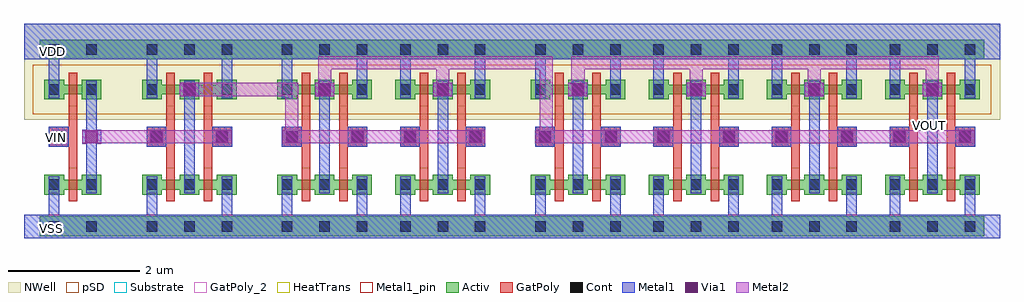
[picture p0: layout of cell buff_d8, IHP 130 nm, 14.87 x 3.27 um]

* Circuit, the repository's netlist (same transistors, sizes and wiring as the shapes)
* Extracted by KLayout with SG13G2 LVS runset on : 28/02/2026 21:23

.SUBCKT buff_d8 VSS VDD VIN VOUT
X$1 \$1 VSS VDD \$2 inv_d2
X$3 \$3 VSS \$2 VDD inv_d4
X$4 VOUT VSS VDD \$3 inv_d8
M$1 VSS VIN \$1 VSS sg13_lv_nmos L=0.13u W=0.15u AS=0.1005p AD=0.1005p PS=1.34u
+ PD=1.34u
M$2 VDD VIN \$1 VDD sg13_lv_pmos L=0.13u W=0.15u AS=0.1005p AD=0.1005p PS=1.34u
+ PD=1.34u
.ENDS buff_d8

.SUBCKT inv_d8 VOUT VSS VDD VIN
X$1 VOUT VSS VIN VDD inv_d4
X$2 VOUT VSS VIN VDD inv_d4
.ENDS inv_d8

.SUBCKT inv_d4 VOUT VSS VIN VDD
X$1 VIN VSS VDD VOUT inv_d2
X$2 VIN VSS VDD VOUT inv_d2
.ENDS inv_d4

.SUBCKT inv_d2 VIN VSS VDD VOUT
M$1 VSS VIN VOUT VSS sg13_lv_nmos L=0.13u W=0.3u AS=0.156p AD=0.156p PS=2.08u
+ PD=2.08u
M$3 VDD VIN VOUT VDD sg13_lv_pmos L=0.13u W=0.3u AS=0.156p AD=0.156p PS=2.08u
+ PD=2.08u
.ENDS inv_d2

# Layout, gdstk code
from math import pi, radians
import gdstk
lib = gdstk.Library(unit=1e-6, precision=5e-09)
def R(c, l, rs):  # rectangles x0, y0, x1, y1
    for r in rs: c.add(gdstk.rectangle(r[:2], r[2:], *l))
Activ = (1, 0)
GatPoly = (5, 0)
GatPoly_2 = (5, 2)
Cont = (6, 0)
Metal1 = (8, 0)
Metal1_pin = (8, 2)
Metal2 = (10, 0)
pSD = (14, 0)
Via1 = (19, 0)
NWell = (31, 0)
Substrate = (40, 0)
HeatTrans = (51, 0)

pmos_1 = lib.new_cell('pmos$1')
R(pmos_1, Activ, [(0,0,0.3,0.3), (0.57,0,0.87,0.3), (0,0.075,0.87,0.225)])
R(pmos_1, GatPoly, [(0.37,-0.105,0.5,0.405), (0.37,-0.105,0.5,0.405)])
R(pmos_1, Cont, [(0.07,0.07,0.23,0.23), (0.64,0.07,0.8,0.23)])
R(pmos_1, Metal1, [(0.07,0.02,0.23,0.28), (0.07,0.02,0.23,0.28), (0.64,0.02,0.8,0.28), (0.64,0.02,0.8,0.28)])
R(pmos_1, pSD, [(-0.18,-0.225,1.05,0.525)])
R(pmos_1, NWell, [(-0.31,-0.31,1.18,0.61)])
R(pmos_1, Substrate, [(0.57,0,0.87,0.3)])
R(pmos_1, HeatTrans, [(0.37,-0.105,0.5,0.405)])
pmos_1.add(gdstk.Label('pmos', (0.435,0.15), layer=63, texttype=0))
pmos_1.add(gdstk.Label('pmos', (0.435,0.15), layer=51, texttype=0))

nmos_1 = lib.new_cell('nmos$1')
R(nmos_1, Activ, [(0,0,0.3,0.3), (0.57,0,0.87,0.3), (0,0.075,0.87,0.225)])
R(nmos_1, GatPoly, [(0.37,-0.105,0.5,0.405)])
R(nmos_1, GatPoly_2, [(0.37,-0.105,0.5,0.405)])
R(nmos_1, Cont, [(0.07,0.07,0.23,0.23), (0.64,0.07,0.8,0.23)])
R(nmos_1, Metal1, [(0.07,0.02,0.23,0.28), (0.64,0.02,0.8,0.28)])
R(nmos_1, Metal1_pin, [(0.07,0.02,0.23,0.28), (0.64,0.02,0.8,0.28)])
R(nmos_1, HeatTrans, [(0.37,-0.105,0.5,0.405)])
nmos_1.add(gdstk.Label('nmos', (0.435,0.15), layer=63, texttype=0))
nmos_1.add(gdstk.Label('nmos', (0.435,0.15), layer=51, texttype=0))

pmos_1_4 = lib.new_cell('pmos$1$4')
R(pmos_1_4, Activ, [(0,0,0.3,0.3), (0.57,0,0.87,0.3), (0,0.075,0.87,0.225)])
R(pmos_1_4, GatPoly, [(0.37,-0.105,0.5,0.405), (0.37,-0.105,0.5,0.405)])
R(pmos_1_4, Cont, [(0.07,0.07,0.23,0.23), (0.64,0.07,0.8,0.23)])
R(pmos_1_4, Metal1, [(0.07,0.02,0.23,0.28), (0.07,0.02,0.23,0.28), (0.64,0.02,0.8,0.28), (0.64,0.02,0.8,0.28)])
R(pmos_1_4, pSD, [(-0.18,-0.225,1.05,0.525)])
R(pmos_1_4, NWell, [(-0.31,-0.31,1.18,0.61)])
R(pmos_1_4, Substrate, [(0.57,0,0.87,0.3)])
R(pmos_1_4, HeatTrans, [(0.37,-0.105,0.5,0.405)])
pmos_1_4.add(gdstk.Label('pmos', (0.435,0.15), layer=63, texttype=0))
pmos_1_4.add(gdstk.Label('pmos', (0.435,0.15), layer=51, texttype=0))

nmos_1_4 = lib.new_cell('nmos$1$4')
R(nmos_1_4, Activ, [(0,0,0.3,0.3), (0.57,0,0.87,0.3), (0,0.075,0.87,0.225)])
R(nmos_1_4, GatPoly, [(0.37,-0.105,0.5,0.405)])
R(nmos_1_4, GatPoly_2, [(0.37,-0.105,0.5,0.405)])
R(nmos_1_4, Cont, [(0.07,0.07,0.23,0.23), (0.64,0.07,0.8,0.23)])
R(nmos_1_4, Metal1, [(0.07,0.02,0.23,0.28), (0.64,0.02,0.8,0.28)])
R(nmos_1_4, Metal1_pin, [(0.07,0.02,0.23,0.28), (0.64,0.02,0.8,0.28)])
R(nmos_1_4, HeatTrans, [(0.37,-0.105,0.5,0.405)])
nmos_1_4.add(gdstk.Label('nmos', (0.435,0.15), layer=63, texttype=0))
nmos_1_4.add(gdstk.Label('nmos', (0.435,0.15), layer=51, texttype=0))

pmos_1_1 = lib.new_cell('pmos$1$1')
R(pmos_1_1, Activ, [(0,0,0.3,0.3), (0.57,0,0.87,0.3), (0,0.075,0.87,0.225)])
R(pmos_1_1, GatPoly, [(0.37,-0.105,0.5,0.405), (0.37,-0.105,0.5,0.405)])
R(pmos_1_1, Cont, [(0.07,0.07,0.23,0.23), (0.64,0.07,0.8,0.23)])
R(pmos_1_1, Metal1, [(0.07,0.02,0.23,0.28), (0.07,0.02,0.23,0.28), (0.64,0.02,0.8,0.28), (0.64,0.02,0.8,0.28)])
R(pmos_1_1, pSD, [(-0.18,-0.225,1.05,0.525)])
R(pmos_1_1, NWell, [(-0.31,-0.31,1.18,0.61)])
R(pmos_1_1, Substrate, [(0.57,0,0.87,0.3)])
R(pmos_1_1, HeatTrans, [(0.37,-0.105,0.5,0.405)])
pmos_1_1.add(gdstk.Label('pmos', (0.435,0.15), layer=63, texttype=0))
pmos_1_1.add(gdstk.Label('pmos', (0.435,0.15), layer=51, texttype=0))

nmos_1_1 = lib.new_cell('nmos$1$1')
R(nmos_1_1, Activ, [(0,0,0.3,0.3), (0.57,0,0.87,0.3), (0,0.075,0.87,0.225)])
R(nmos_1_1, GatPoly, [(0.37,-0.105,0.5,0.405)])
R(nmos_1_1, GatPoly_2, [(0.37,-0.105,0.5,0.405)])
R(nmos_1_1, Cont, [(0.07,0.07,0.23,0.23), (0.64,0.07,0.8,0.23)])
R(nmos_1_1, Metal1, [(0.07,0.02,0.23,0.28), (0.64,0.02,0.8,0.28)])
R(nmos_1_1, Metal1_pin, [(0.07,0.02,0.23,0.28), (0.64,0.02,0.8,0.28)])
R(nmos_1_1, HeatTrans, [(0.37,-0.105,0.5,0.405)])
nmos_1_1.add(gdstk.Label('nmos', (0.435,0.15), layer=63, texttype=0))
nmos_1_1.add(gdstk.Label('nmos', (0.435,0.15), layer=51, texttype=0))

pmos_1_2 = lib.new_cell('pmos$1$2')
R(pmos_1_2, Activ, [(0,0,0.3,0.3), (0.57,0,0.87,0.3), (0,0.075,0.87,0.225)])
R(pmos_1_2, GatPoly, [(0.37,-0.105,0.5,0.405), (0.37,-0.105,0.5,0.405)])
R(pmos_1_2, Cont, [(0.07,0.07,0.23,0.23), (0.64,0.07,0.8,0.23)])
R(pmos_1_2, Metal1, [(0.07,0.02,0.23,0.28), (0.07,0.02,0.23,0.28), (0.64,0.02,0.8,0.28), (0.64,0.02,0.8,0.28)])
R(pmos_1_2, pSD, [(-0.18,-0.225,1.05,0.525)])
R(pmos_1_2, NWell, [(-0.31,-0.31,1.18,0.61)])
R(pmos_1_2, Substrate, [(0.57,0,0.87,0.3)])
R(pmos_1_2, HeatTrans, [(0.37,-0.105,0.5,0.405)])
pmos_1_2.add(gdstk.Label('pmos', (0.435,0.15), layer=63, texttype=0))
pmos_1_2.add(gdstk.Label('pmos', (0.435,0.15), layer=51, texttype=0))

nmos_1_2 = lib.new_cell('nmos$1$2')
R(nmos_1_2, Activ, [(0,0,0.3,0.3), (0.57,0,0.87,0.3), (0,0.075,0.87,0.225)])
R(nmos_1_2, GatPoly, [(0.37,-0.105,0.5,0.405)])
R(nmos_1_2, GatPoly_2, [(0.37,-0.105,0.5,0.405)])
R(nmos_1_2, Cont, [(0.07,0.07,0.23,0.23), (0.64,0.07,0.8,0.23)])
R(nmos_1_2, Metal1, [(0.07,0.02,0.23,0.28), (0.64,0.02,0.8,0.28)])
R(nmos_1_2, Metal1_pin, [(0.07,0.02,0.23,0.28), (0.64,0.02,0.8,0.28)])
R(nmos_1_2, HeatTrans, [(0.37,-0.105,0.5,0.405)])
nmos_1_2.add(gdstk.Label('nmos', (0.435,0.15), layer=63, texttype=0))
nmos_1_2.add(gdstk.Label('nmos', (0.435,0.15), layer=51, texttype=0))

pmos_1_3 = lib.new_cell('pmos$1$3')
R(pmos_1_3, Activ, [(0,0,0.3,0.3), (0.57,0,0.87,0.3), (0,0.075,0.87,0.225)])
R(pmos_1_3, GatPoly, [(0.37,-0.105,0.5,0.405), (0.37,-0.105,0.5,0.405)])
R(pmos_1_3, Cont, [(0.07,0.07,0.23,0.23), (0.64,0.07,0.8,0.23)])
R(pmos_1_3, Metal1, [(0.07,0.02,0.23,0.28), (0.07,0.02,0.23,0.28), (0.64,0.02,0.8,0.28), (0.64,0.02,0.8,0.28)])
R(pmos_1_3, pSD, [(-0.18,-0.225,1.05,0.525)])
R(pmos_1_3, NWell, [(-0.31,-0.31,1.18,0.61)])
R(pmos_1_3, Substrate, [(0.57,0,0.87,0.3)])
R(pmos_1_3, HeatTrans, [(0.37,-0.105,0.5,0.405)])
pmos_1_3.add(gdstk.Label('pmos', (0.435,0.15), layer=63, texttype=0))
pmos_1_3.add(gdstk.Label('pmos', (0.435,0.15), layer=51, texttype=0))

nmos_1_3 = lib.new_cell('nmos$1$3')
R(nmos_1_3, Activ, [(0,0,0.3,0.3), (0.57,0,0.87,0.3), (0,0.075,0.87,0.225)])
R(nmos_1_3, GatPoly, [(0.37,-0.105,0.5,0.405)])
R(nmos_1_3, GatPoly_2, [(0.37,-0.105,0.5,0.405)])
R(nmos_1_3, Cont, [(0.07,0.07,0.23,0.23), (0.64,0.07,0.8,0.23)])
R(nmos_1_3, Metal1, [(0.07,0.02,0.23,0.28), (0.64,0.02,0.8,0.28)])
R(nmos_1_3, Metal1_pin, [(0.07,0.02,0.23,0.28), (0.64,0.02,0.8,0.28)])
R(nmos_1_3, HeatTrans, [(0.37,-0.105,0.5,0.405)])
nmos_1_3.add(gdstk.Label('nmos', (0.435,0.15), layer=63, texttype=0))
nmos_1_3.add(gdstk.Label('nmos', (0.435,0.15), layer=51, texttype=0))

pmos_1_5 = lib.new_cell('pmos$1$5')
R(pmos_1_5, Activ, [(0,0,0.3,0.3), (0.57,0,0.87,0.3), (0,0.075,0.87,0.225)])
R(pmos_1_5, GatPoly, [(0.37,-0.105,0.5,0.405), (0.37,-0.105,0.5,0.405)])
R(pmos_1_5, Cont, [(0.07,0.07,0.23,0.23), (0.64,0.07,0.8,0.23)])
R(pmos_1_5, Metal1, [(0.07,0.02,0.23,0.28), (0.07,0.02,0.23,0.28), (0.64,0.02,0.8,0.28), (0.64,0.02,0.8,0.28)])
R(pmos_1_5, pSD, [(-0.18,-0.225,1.05,0.525)])
R(pmos_1_5, NWell, [(-0.31,-0.31,1.18,0.61)])
R(pmos_1_5, Substrate, [(0.57,0,0.87,0.3)])
R(pmos_1_5, HeatTrans, [(0.37,-0.105,0.5,0.405)])
pmos_1_5.add(gdstk.Label('pmos', (0.435,0.15), layer=63, texttype=0))
pmos_1_5.add(gdstk.Label('pmos', (0.435,0.15), layer=51, texttype=0))

nmos_1_5 = lib.new_cell('nmos$1$5')
R(nmos_1_5, Activ, [(0,0,0.3,0.3), (0.57,0,0.87,0.3), (0,0.075,0.87,0.225)])
R(nmos_1_5, GatPoly, [(0.37,-0.105,0.5,0.405)])
R(nmos_1_5, GatPoly_2, [(0.37,-0.105,0.5,0.405)])
R(nmos_1_5, Cont, [(0.07,0.07,0.23,0.23), (0.64,0.07,0.8,0.23)])
R(nmos_1_5, Metal1, [(0.07,0.02,0.23,0.28), (0.64,0.02,0.8,0.28)])
R(nmos_1_5, Metal1_pin, [(0.07,0.02,0.23,0.28), (0.64,0.02,0.8,0.28)])
R(nmos_1_5, HeatTrans, [(0.37,-0.105,0.5,0.405)])
nmos_1_5.add(gdstk.Label('nmos', (0.435,0.15), layer=63, texttype=0))
nmos_1_5.add(gdstk.Label('nmos', (0.435,0.15), layer=51, texttype=0))

pmos_1_1_1 = lib.new_cell('pmos$1$1$1')
R(pmos_1_1_1, Activ, [(0,0,0.3,0.3), (0.57,0,0.87,0.3), (0,0.075,0.87,0.225)])
R(pmos_1_1_1, GatPoly, [(0.37,-0.105,0.5,0.405), (0.37,-0.105,0.5,0.405)])
R(pmos_1_1_1, Cont, [(0.07,0.07,0.23,0.23), (0.64,0.07,0.8,0.23)])
R(pmos_1_1_1, Metal1, [(0.07,0.02,0.23,0.28), (0.07,0.02,0.23,0.28), (0.64,0.02,0.8,0.28), (0.64,0.02,0.8,0.28)])
R(pmos_1_1_1, pSD, [(-0.18,-0.225,1.05,0.525)])
R(pmos_1_1_1, NWell, [(-0.31,-0.31,1.18,0.61)])
R(pmos_1_1_1, Substrate, [(0.57,0,0.87,0.3)])
R(pmos_1_1_1, HeatTrans, [(0.37,-0.105,0.5,0.405)])
pmos_1_1_1.add(gdstk.Label('pmos', (0.435,0.15), layer=63, texttype=0))
pmos_1_1_1.add(gdstk.Label('pmos', (0.435,0.15), layer=51, texttype=0))

nmos_1_1_1 = lib.new_cell('nmos$1$1$1')
R(nmos_1_1_1, Activ, [(0,0,0.3,0.3), (0.57,0,0.87,0.3), (0,0.075,0.87,0.225)])
R(nmos_1_1_1, GatPoly, [(0.37,-0.105,0.5,0.405)])
R(nmos_1_1_1, GatPoly_2, [(0.37,-0.105,0.5,0.405)])
R(nmos_1_1_1, Cont, [(0.07,0.07,0.23,0.23), (0.64,0.07,0.8,0.23)])
R(nmos_1_1_1, Metal1, [(0.07,0.02,0.23,0.28), (0.64,0.02,0.8,0.28)])
R(nmos_1_1_1, Metal1_pin, [(0.07,0.02,0.23,0.28), (0.64,0.02,0.8,0.28)])
R(nmos_1_1_1, HeatTrans, [(0.37,-0.105,0.5,0.405)])
nmos_1_1_1.add(gdstk.Label('nmos', (0.435,0.15), layer=63, texttype=0))
nmos_1_1_1.add(gdstk.Label('nmos', (0.435,0.15), layer=51, texttype=0))

pmos_1_2_1 = lib.new_cell('pmos$1$2$1')
R(pmos_1_2_1, Activ, [(0,0,0.3,0.3), (0.57,0,0.87,0.3), (0,0.075,0.87,0.225)])
R(pmos_1_2_1, GatPoly, [(0.37,-0.105,0.5,0.405), (0.37,-0.105,0.5,0.405)])
R(pmos_1_2_1, Cont, [(0.07,0.07,0.23,0.23), (0.64,0.07,0.8,0.23)])
R(pmos_1_2_1, Metal1, [(0.07,0.02,0.23,0.28), (0.07,0.02,0.23,0.28), (0.64,0.02,0.8,0.28), (0.64,0.02,0.8,0.28)])
R(pmos_1_2_1, pSD, [(-0.18,-0.225,1.05,0.525)])
R(pmos_1_2_1, NWell, [(-0.31,-0.31,1.18,0.61)])
R(pmos_1_2_1, Substrate, [(0.57,0,0.87,0.3)])
R(pmos_1_2_1, HeatTrans, [(0.37,-0.105,0.5,0.405)])
pmos_1_2_1.add(gdstk.Label('pmos', (0.435,0.15), layer=63, texttype=0))
pmos_1_2_1.add(gdstk.Label('pmos', (0.435,0.15), layer=51, texttype=0))

nmos_1_2_1 = lib.new_cell('nmos$1$2$1')
R(nmos_1_2_1, Activ, [(0,0,0.3,0.3), (0.57,0,0.87,0.3), (0,0.075,0.87,0.225)])
R(nmos_1_2_1, GatPoly, [(0.37,-0.105,0.5,0.405)])
R(nmos_1_2_1, GatPoly_2, [(0.37,-0.105,0.5,0.405)])
R(nmos_1_2_1, Cont, [(0.07,0.07,0.23,0.23), (0.64,0.07,0.8,0.23)])
R(nmos_1_2_1, Metal1, [(0.07,0.02,0.23,0.28), (0.64,0.02,0.8,0.28)])
R(nmos_1_2_1, Metal1_pin, [(0.07,0.02,0.23,0.28), (0.64,0.02,0.8,0.28)])
R(nmos_1_2_1, HeatTrans, [(0.37,-0.105,0.5,0.405)])
nmos_1_2_1.add(gdstk.Label('nmos', (0.435,0.15), layer=63, texttype=0))
nmos_1_2_1.add(gdstk.Label('nmos', (0.435,0.15), layer=51, texttype=0))

pmos_1_3_1 = lib.new_cell('pmos$1$3$1')
R(pmos_1_3_1, Activ, [(0,0,0.3,0.3), (0.57,0,0.87,0.3), (0,0.075,0.87,0.225)])
R(pmos_1_3_1, GatPoly, [(0.37,-0.105,0.5,0.405), (0.37,-0.105,0.5,0.405)])
R(pmos_1_3_1, Cont, [(0.07,0.07,0.23,0.23), (0.64,0.07,0.8,0.23)])
R(pmos_1_3_1, Metal1, [(0.07,0.02,0.23,0.28), (0.07,0.02,0.23,0.28), (0.64,0.02,0.8,0.28), (0.64,0.02,0.8,0.28)])
R(pmos_1_3_1, pSD, [(-0.18,-0.225,1.05,0.525)])
R(pmos_1_3_1, NWell, [(-0.31,-0.31,1.18,0.61)])
R(pmos_1_3_1, Substrate, [(0.57,0,0.87,0.3)])
R(pmos_1_3_1, HeatTrans, [(0.37,-0.105,0.5,0.405)])
pmos_1_3_1.add(gdstk.Label('pmos', (0.435,0.15), layer=63, texttype=0))
pmos_1_3_1.add(gdstk.Label('pmos', (0.435,0.15), layer=51, texttype=0))

nmos_1_3_1 = lib.new_cell('nmos$1$3$1')
R(nmos_1_3_1, Activ, [(0,0,0.3,0.3), (0.57,0,0.87,0.3), (0,0.075,0.87,0.225)])
R(nmos_1_3_1, GatPoly, [(0.37,-0.105,0.5,0.405)])
R(nmos_1_3_1, GatPoly_2, [(0.37,-0.105,0.5,0.405)])
R(nmos_1_3_1, Cont, [(0.07,0.07,0.23,0.23), (0.64,0.07,0.8,0.23)])
R(nmos_1_3_1, Metal1, [(0.07,0.02,0.23,0.28), (0.64,0.02,0.8,0.28)])
R(nmos_1_3_1, Metal1_pin, [(0.07,0.02,0.23,0.28), (0.64,0.02,0.8,0.28)])
R(nmos_1_3_1, HeatTrans, [(0.37,-0.105,0.5,0.405)])
nmos_1_3_1.add(gdstk.Label('nmos', (0.435,0.15), layer=63, texttype=0))
nmos_1_3_1.add(gdstk.Label('nmos', (0.435,0.15), layer=51, texttype=0))

pmos_1_6 = lib.new_cell('pmos$1$6')
R(pmos_1_6, Activ, [(0,0,0.3,0.3), (0.57,0,0.87,0.3), (0,0.075,0.87,0.225)])
R(pmos_1_6, GatPoly, [(0.37,-0.105,0.5,0.405), (0.37,-0.105,0.5,0.405)])
R(pmos_1_6, Cont, [(0.07,0.07,0.23,0.23), (0.64,0.07,0.8,0.23)])
R(pmos_1_6, Metal1, [(0.07,0.02,0.23,0.28), (0.07,0.02,0.23,0.28), (0.64,0.02,0.8,0.28), (0.64,0.02,0.8,0.28)])
R(pmos_1_6, pSD, [(-0.18,-0.225,1.05,0.525)])
R(pmos_1_6, NWell, [(-0.31,-0.31,1.18,0.61)])
R(pmos_1_6, Substrate, [(0.57,0,0.87,0.3)])
R(pmos_1_6, HeatTrans, [(0.37,-0.105,0.5,0.405)])
pmos_1_6.add(gdstk.Label('pmos', (0.435,0.15), layer=63, texttype=0))
pmos_1_6.add(gdstk.Label('pmos', (0.435,0.15), layer=51, texttype=0))

nmos_1_6 = lib.new_cell('nmos$1$6')
R(nmos_1_6, Activ, [(0,0,0.3,0.3), (0.57,0,0.87,0.3), (0,0.075,0.87,0.225)])
R(nmos_1_6, GatPoly, [(0.37,-0.105,0.5,0.405)])
R(nmos_1_6, GatPoly_2, [(0.37,-0.105,0.5,0.405)])
R(nmos_1_6, Cont, [(0.07,0.07,0.23,0.23), (0.64,0.07,0.8,0.23)])
R(nmos_1_6, Metal1, [(0.07,0.02,0.23,0.28), (0.64,0.02,0.8,0.28)])
R(nmos_1_6, Metal1_pin, [(0.07,0.02,0.23,0.28), (0.64,0.02,0.8,0.28)])
R(nmos_1_6, HeatTrans, [(0.37,-0.105,0.5,0.405)])
nmos_1_6.add(gdstk.Label('nmos', (0.435,0.15), layer=63, texttype=0))
nmos_1_6.add(gdstk.Label('nmos', (0.435,0.15), layer=51, texttype=0))

pmos_1_1_2 = lib.new_cell('pmos$1$1$2')
R(pmos_1_1_2, Activ, [(0,0,0.3,0.3), (0.57,0,0.87,0.3), (0,0.075,0.87,0.225)])
R(pmos_1_1_2, GatPoly, [(0.37,-0.105,0.5,0.405), (0.37,-0.105,0.5,0.405)])
R(pmos_1_1_2, Cont, [(0.07,0.07,0.23,0.23), (0.64,0.07,0.8,0.23)])
R(pmos_1_1_2, Metal1, [(0.07,0.02,0.23,0.28), (0.07,0.02,0.23,0.28), (0.64,0.02,0.8,0.28), (0.64,0.02,0.8,0.28)])
R(pmos_1_1_2, pSD, [(-0.18,-0.225,1.05,0.525)])
R(pmos_1_1_2, NWell, [(-0.31,-0.31,1.18,0.61)])
R(pmos_1_1_2, Substrate, [(0.57,0,0.87,0.3)])
R(pmos_1_1_2, HeatTrans, [(0.37,-0.105,0.5,0.405)])
pmos_1_1_2.add(gdstk.Label('pmos', (0.435,0.15), layer=63, texttype=0))
pmos_1_1_2.add(gdstk.Label('pmos', (0.435,0.15), layer=51, texttype=0))

nmos_1_1_2 = lib.new_cell('nmos$1$1$2')
R(nmos_1_1_2, Activ, [(0,0,0.3,0.3), (0.57,0,0.87,0.3), (0,0.075,0.87,0.225)])
R(nmos_1_1_2, GatPoly, [(0.37,-0.105,0.5,0.405)])
R(nmos_1_1_2, GatPoly_2, [(0.37,-0.105,0.5,0.405)])
R(nmos_1_1_2, Cont, [(0.07,0.07,0.23,0.23), (0.64,0.07,0.8,0.23)])
R(nmos_1_1_2, Metal1, [(0.07,0.02,0.23,0.28), (0.64,0.02,0.8,0.28)])
R(nmos_1_1_2, Metal1_pin, [(0.07,0.02,0.23,0.28), (0.64,0.02,0.8,0.28)])
R(nmos_1_1_2, HeatTrans, [(0.37,-0.105,0.5,0.405)])
nmos_1_1_2.add(gdstk.Label('nmos', (0.435,0.15), layer=63, texttype=0))
nmos_1_1_2.add(gdstk.Label('nmos', (0.435,0.15), layer=51, texttype=0))

pmos_1_2_2 = lib.new_cell('pmos$1$2$2')
R(pmos_1_2_2, Activ, [(0,0,0.3,0.3), (0.57,0,0.87,0.3), (0,0.075,0.87,0.225)])
R(pmos_1_2_2, GatPoly, [(0.37,-0.105,0.5,0.405), (0.37,-0.105,0.5,0.405)])
R(pmos_1_2_2, Cont, [(0.07,0.07,0.23,0.23), (0.64,0.07,0.8,0.23)])
R(pmos_1_2_2, Metal1, [(0.07,0.02,0.23,0.28), (0.07,0.02,0.23,0.28), (0.64,0.02,0.8,0.28), (0.64,0.02,0.8,0.28)])
R(pmos_1_2_2, pSD, [(-0.18,-0.225,1.05,0.525)])
R(pmos_1_2_2, NWell, [(-0.31,-0.31,1.18,0.61)])
R(pmos_1_2_2, Substrate, [(0.57,0,0.87,0.3)])
R(pmos_1_2_2, HeatTrans, [(0.37,-0.105,0.5,0.405)])
pmos_1_2_2.add(gdstk.Label('pmos', (0.435,0.15), layer=63, texttype=0))
pmos_1_2_2.add(gdstk.Label('pmos', (0.435,0.15), layer=51, texttype=0))

nmos_1_2_2 = lib.new_cell('nmos$1$2$2')
R(nmos_1_2_2, Activ, [(0,0,0.3,0.3), (0.57,0,0.87,0.3), (0,0.075,0.87,0.225)])
R(nmos_1_2_2, GatPoly, [(0.37,-0.105,0.5,0.405)])
R(nmos_1_2_2, GatPoly_2, [(0.37,-0.105,0.5,0.405)])
R(nmos_1_2_2, Cont, [(0.07,0.07,0.23,0.23), (0.64,0.07,0.8,0.23)])
R(nmos_1_2_2, Metal1, [(0.07,0.02,0.23,0.28), (0.64,0.02,0.8,0.28)])
R(nmos_1_2_2, Metal1_pin, [(0.07,0.02,0.23,0.28), (0.64,0.02,0.8,0.28)])
R(nmos_1_2_2, HeatTrans, [(0.37,-0.105,0.5,0.405)])
nmos_1_2_2.add(gdstk.Label('nmos', (0.435,0.15), layer=63, texttype=0))
nmos_1_2_2.add(gdstk.Label('nmos', (0.435,0.15), layer=51, texttype=0))

pmos_1_3_2 = lib.new_cell('pmos$1$3$2')
R(pmos_1_3_2, Activ, [(0,0,0.3,0.3), (0.57,0,0.87,0.3), (0,0.075,0.87,0.225)])
R(pmos_1_3_2, GatPoly, [(0.37,-0.105,0.5,0.405), (0.37,-0.105,0.5,0.405)])
R(pmos_1_3_2, Cont, [(0.07,0.07,0.23,0.23), (0.64,0.07,0.8,0.23)])
R(pmos_1_3_2, Metal1, [(0.07,0.02,0.23,0.28), (0.07,0.02,0.23,0.28), (0.64,0.02,0.8,0.28), (0.64,0.02,0.8,0.28)])
R(pmos_1_3_2, pSD, [(-0.18,-0.225,1.05,0.525)])
R(pmos_1_3_2, NWell, [(-0.31,-0.31,1.18,0.61)])
R(pmos_1_3_2, Substrate, [(0.57,0,0.87,0.3)])
R(pmos_1_3_2, HeatTrans, [(0.37,-0.105,0.5,0.405)])
pmos_1_3_2.add(gdstk.Label('pmos', (0.435,0.15), layer=63, texttype=0))
pmos_1_3_2.add(gdstk.Label('pmos', (0.435,0.15), layer=51, texttype=0))

nmos_1_3_2 = lib.new_cell('nmos$1$3$2')
R(nmos_1_3_2, Activ, [(0,0,0.3,0.3), (0.57,0,0.87,0.3), (0,0.075,0.87,0.225)])
R(nmos_1_3_2, GatPoly, [(0.37,-0.105,0.5,0.405)])
R(nmos_1_3_2, GatPoly_2, [(0.37,-0.105,0.5,0.405)])
R(nmos_1_3_2, Cont, [(0.07,0.07,0.23,0.23), (0.64,0.07,0.8,0.23)])
R(nmos_1_3_2, Metal1, [(0.07,0.02,0.23,0.28), (0.64,0.02,0.8,0.28)])
R(nmos_1_3_2, Metal1_pin, [(0.07,0.02,0.23,0.28), (0.64,0.02,0.8,0.28)])
R(nmos_1_3_2, HeatTrans, [(0.37,-0.105,0.5,0.405)])
nmos_1_3_2.add(gdstk.Label('nmos', (0.435,0.15), layer=63, texttype=0))
nmos_1_3_2.add(gdstk.Label('nmos', (0.435,0.15), layer=51, texttype=0))

inv = lib.new_cell('inv')
R(inv, Activ, [(0.48,-0.04,1.49,0.26), (0.48,-0.04,1.49,0.26), (0.48,-0.04,1.49,0.26), (0.48,-0.04,1.49,0.26), (0.48,-0.04,1.49,0.26), (0.48,-0.04,1.49,0.26), (0.48,-0.04,1.49,0.26), (0.48,-0.04,1.49,0.26), (0.48,-0.04,1.49,0.26), (0.48,-0.04,1.49,0.26), (0.48,-0.04,1.49,0.26), (0.48,-0.04,1.49,0.26), (0.48,-0.04,1.49,0.26), (0.48,2.655,1.49,2.955), (0.48,2.655,1.49,2.955), (0.48,2.655,1.49,2.955), (0.48,2.655,1.49,2.955), (0.48,2.655,1.49,2.955), (0.48,2.655,1.49,2.955), (0.48,2.655,1.49,2.955), (0.48,2.655,1.49,2.955), (0.48,2.655,1.49,2.955), (0.48,2.655,1.49,2.955), (0.48,2.655,1.49,2.955), (0.48,2.655,1.49,2.955), (0.48,2.655,1.49,2.955)])
R(inv, GatPoly, [(0.92,0.76,1.05,2.45), (0.92,0.76,1.05,2.45), (0.92,0.76,1.05,2.45), (0.92,0.76,1.05,2.45), (0.92,0.76,1.05,2.45), (0.92,0.76,1.05,2.45), (0.92,0.76,1.05,2.45), (0.92,0.76,1.05,2.45), (0.92,0.76,1.05,2.45), (0.92,0.76,1.05,2.45), (0.92,0.76,1.05,2.45), (0.92,0.76,1.05,2.45), (0.92,0.76,1.05,2.45), (0.62,1.325,0.92,1.625), (0.62,1.325,0.92,1.625), (0.62,1.325,0.92,1.625), (0.62,1.325,0.92,1.625), (0.62,1.325,0.92,1.625), (0.62,1.325,0.92,1.625), (0.62,1.325,0.92,1.625), (0.62,1.325,0.92,1.625), (0.62,1.325,0.92,1.625), (0.62,1.325,0.92,1.625), (0.62,1.325,0.92,1.625), (0.62,1.325,0.92,1.625), (0.62,1.325,0.92,1.625)])
R(inv, Cont, [(0.62,0.03,0.78,0.19), (0.62,0.03,0.78,0.19), (0.62,0.03,0.78,0.19), (0.62,0.03,0.78,0.19), (0.62,0.03,0.78,0.19), (0.62,0.03,0.78,0.19), (0.62,0.03,0.78,0.19), (0.62,0.03,0.78,0.19), (0.62,0.03,0.78,0.19), (0.62,0.03,0.78,0.19), (0.62,0.03,0.78,0.19), (0.62,0.03,0.78,0.19), (0.62,0.03,0.78,0.19), (1.19,0.03,1.35,0.19), (1.19,0.03,1.35,0.19), (1.19,0.03,1.35,0.19), (1.19,0.03,1.35,0.19), (1.19,0.03,1.35,0.19), (1.19,0.03,1.35,0.19), (1.19,0.03,1.35,0.19), (1.19,0.03,1.35,0.19), (1.19,0.03,1.35,0.19), (1.19,0.03,1.35,0.19), (1.19,0.03,1.35,0.19), (1.19,0.03,1.35,0.19), (1.19,0.03,1.35,0.19), (0.69,1.395,0.85,1.555), (0.69,1.395,0.85,1.555), (0.69,1.395,0.85,1.555), (0.69,1.395,0.85,1.555), (0.69,1.395,0.85,1.555), (0.69,1.395,0.85,1.555), (0.69,1.395,0.85,1.555), (0.69,1.395,0.85,1.555), (0.69,1.395,0.85,1.555), (0.69,1.395,0.85,1.555), (0.69,1.395,0.85,1.555), (0.69,1.395,0.85,1.555), (0.69,1.395,0.85,1.555), (0.62,2.725,0.78,2.885), (0.62,2.725,0.78,2.885), (0.62,2.725,0.78,2.885), (0.62,2.725,0.78,2.885), (0.62,2.725,0.78,2.885), (0.62,2.725,0.78,2.885), (0.62,2.725,0.78,2.885), (0.62,2.725,0.78,2.885), (0.62,2.725,0.78,2.885), (0.62,2.725,0.78,2.885), (0.62,2.725,0.78,2.885), (0.62,2.725,0.78,2.885), (0.62,2.725,0.78,2.885), (1.19,2.725,1.35,2.885), (1.19,2.725,1.35,2.885), (1.19,2.725,1.35,2.885), (1.19,2.725,1.35,2.885), (1.19,2.725,1.35,2.885), (1.19,2.725,1.35,2.885), (1.19,2.725,1.35,2.885), (1.19,2.725,1.35,2.885), (1.19,2.725,1.35,2.885), (1.19,2.725,1.35,2.885), (1.19,2.725,1.35,2.885), (1.19,2.725,1.35,2.885), (1.19,2.725,1.35,2.885)])
R(inv, Metal1, [(0.24,-0.07,1.73,0.29), (0.24,-0.07,1.73,0.29), (0.24,-0.07,1.73,0.29), (0.24,-0.07,1.73,0.29), (0.24,-0.07,1.73,0.29), (0.24,-0.07,1.73,0.29), (0.24,-0.07,1.73,0.29), (0.24,-0.07,1.73,0.29), (0.24,-0.07,1.73,0.29), (0.24,-0.07,1.73,0.29), (0.24,-0.07,1.73,0.29), (0.24,-0.07,1.73,0.29), (0.24,-0.07,1.73,0.29), (0.62,-0.04,0.78,0.875), (0.62,-0.04,0.78,0.875), (0.62,-0.04,0.78,0.875), (0.62,-0.04,0.78,0.875), (0.62,-0.04,0.78,0.875), (0.62,-0.04,0.78,0.875), (0.62,-0.04,0.78,0.875), (0.62,-0.04,0.78,0.875), (0.62,-0.04,0.78,0.875), (0.62,-0.04,0.78,0.875), (0.62,-0.04,0.78,0.875), (0.62,-0.04,0.78,0.875), (0.62,-0.04,0.78,0.875), (1.19,0.615,1.35,2.325), (1.19,0.615,1.35,2.325), (1.19,0.615,1.35,2.325), (1.19,0.615,1.35,2.325), (1.19,0.615,1.35,2.325), (1.19,0.615,1.35,2.325), (1.19,0.615,1.35,2.325), (1.19,0.615,1.35,2.325), (1.19,0.615,1.35,2.325), (1.19,0.615,1.35,2.325), (1.19,0.615,1.35,2.325), (1.19,0.615,1.35,2.325), (1.19,0.615,1.35,2.325), (0.62,1.325,0.92,1.625), (0.62,1.325,0.92,1.625), (0.62,1.325,0.92,1.625), (0.62,1.325,0.92,1.625), (0.62,1.325,0.92,1.625), (0.62,1.325,0.92,1.625), (0.62,1.325,0.92,1.625), (0.62,1.325,0.92,1.625), (0.62,1.325,0.92,1.625), (0.62,1.325,0.92,1.625), (0.62,1.325,0.92,1.625), (0.62,1.325,0.92,1.625), (0.62,1.325,0.92,1.625), (0.62,2.065,0.78,2.955), (0.62,2.065,0.78,2.955), (0.62,2.065,0.78,2.955), (0.62,2.065,0.78,2.955), (0.62,2.065,0.78,2.955), (0.62,2.065,0.78,2.955), (0.62,2.065,0.78,2.955), (0.62,2.065,0.78,2.955), (0.62,2.065,0.78,2.955), (0.62,2.065,0.78,2.955), (0.62,2.065,0.78,2.955), (0.62,2.065,0.78,2.955), (0.62,2.065,0.78,2.955), (0.24,2.655,1.73,3.195), (0.24,2.655,1.73,3.195), (0.24,2.655,1.73,3.195), (0.24,2.655,1.73,3.195), (0.24,2.655,1.73,3.195), (0.24,2.655,1.73,3.195), (0.24,2.655,1.73,3.195), (0.24,2.655,1.73,3.195), (0.24,2.655,1.73,3.195), (0.24,2.655,1.73,3.195), (0.24,2.655,1.73,3.195), (0.24,2.655,1.73,3.195), (0.24,2.655,1.73,3.195)])
R(inv, Metal1_pin, [(0.24,-0.07,1.73,0.29), (0.24,-0.07,1.73,0.29), (0.24,-0.07,1.73,0.29), (0.24,-0.07,1.73,0.29), (0.24,-0.07,1.73,0.29), (0.24,-0.07,1.73,0.29), (0.24,-0.07,1.73,0.29), (0.24,-0.07,1.73,0.29), (0.24,-0.07,1.73,0.29), (0.24,-0.07,1.73,0.29), (0.24,-0.07,1.73,0.29), (0.24,-0.07,1.73,0.29), (0.24,-0.07,1.73,0.29), (1.19,0.615,1.35,2.325), (1.19,0.615,1.35,2.325), (1.19,0.615,1.35,2.325), (1.19,0.615,1.35,2.325), (1.19,0.615,1.35,2.325), (1.19,0.615,1.35,2.325), (1.19,0.615,1.35,2.325), (1.19,0.615,1.35,2.325), (1.19,0.615,1.35,2.325), (1.19,0.615,1.35,2.325), (1.19,0.615,1.35,2.325), (1.19,0.615,1.35,2.325), (1.19,0.615,1.35,2.325), (0.62,1.325,0.92,1.625), (0.62,1.325,0.92,1.625), (0.62,1.325,0.92,1.625), (0.62,1.325,0.92,1.625), (0.62,1.325,0.92,1.625), (0.62,1.325,0.92,1.625), (0.62,1.325,0.92,1.625), (0.62,1.325,0.92,1.625), (0.62,1.325,0.92,1.625), (0.62,1.325,0.92,1.625), (0.62,1.325,0.92,1.625), (0.62,1.325,0.92,1.625), (0.62,1.325,0.92,1.625), (0.24,2.655,1.73,3.195), (0.24,2.655,1.73,3.195), (0.24,2.655,1.73,3.195), (0.24,2.655,1.73,3.195), (0.24,2.655,1.73,3.195), (0.24,2.655,1.73,3.195), (0.24,2.655,1.73,3.195), (0.24,2.655,1.73,3.195), (0.24,2.655,1.73,3.195), (0.24,2.655,1.73,3.195), (0.24,2.655,1.73,3.195), (0.24,2.655,1.73,3.195), (0.24,2.655,1.73,3.195)])
R(inv, pSD, [(0.24,-0.07,1.73,0.29), (0.24,-0.07,1.73,0.29), (0.24,-0.07,1.73,0.29), (0.24,-0.07,1.73,0.29), (0.24,-0.07,1.73,0.29), (0.24,-0.07,1.73,0.29), (0.24,-0.07,1.73,0.29), (0.24,-0.07,1.73,0.29), (0.24,-0.07,1.73,0.29), (0.24,-0.07,1.73,0.29), (0.24,-0.07,1.73,0.29), (0.24,-0.07,1.73,0.29), (0.24,-0.07,1.73,0.29)])
R(inv, NWell, [(0.24,2.655,1.73,3.195), (0.24,2.655,1.73,3.195), (0.24,2.655,1.73,3.195), (0.24,2.655,1.73,3.195), (0.24,2.655,1.73,3.195), (0.24,2.655,1.73,3.195), (0.24,2.655,1.73,3.195), (0.24,2.655,1.73,3.195), (0.24,2.655,1.73,3.195), (0.24,2.655,1.73,3.195), (0.24,2.655,1.73,3.195), (0.24,2.655,1.73,3.195), (0.24,2.655,1.73,3.195)])
inv.add(gdstk.Reference(pmos_1, (0.55,2.045)))
inv.add(gdstk.Reference(nmos_1, (0.55,0.595)))
inv.add(gdstk.Reference(pmos_1_4, (0.55,2.045)))
inv.add(gdstk.Reference(nmos_1_4, (0.55,0.595)))
inv.add(gdstk.Reference(pmos_1_1, (0.55,2.045)))
inv.add(gdstk.Reference(nmos_1_1, (0.55,0.595)))
inv.add(gdstk.Reference(pmos_1_2, (0.55,2.045)))
inv.add(gdstk.Reference(nmos_1_2, (0.55,0.595)))
inv.add(gdstk.Reference(pmos_1_3, (0.55,2.045)))
inv.add(gdstk.Reference(nmos_1_3, (0.55,0.595)))
inv.add(gdstk.Reference(pmos_1_5, (0.55,2.045)))
inv.add(gdstk.Reference(nmos_1_5, (0.55,0.595)))
inv.add(gdstk.Reference(pmos_1_1_1, (0.55,2.045)))
inv.add(gdstk.Reference(nmos_1_1_1, (0.55,0.595)))
inv.add(gdstk.Reference(pmos_1_2_1, (0.55,2.045)))
inv.add(gdstk.Reference(nmos_1_2_1, (0.55,0.595)))
inv.add(gdstk.Reference(pmos_1_3_1, (0.55,2.045)))
inv.add(gdstk.Reference(nmos_1_3_1, (0.55,0.595)))
inv.add(gdstk.Reference(pmos_1_6, (0.55,2.045)))
inv.add(gdstk.Reference(nmos_1_6, (0.55,0.595)))
inv.add(gdstk.Reference(pmos_1_1_2, (0.55,2.045)))
inv.add(gdstk.Reference(nmos_1_1_2, (0.55,0.595)))
inv.add(gdstk.Reference(pmos_1_2_2, (0.55,2.045)))
inv.add(gdstk.Reference(nmos_1_2_2, (0.55,0.595)))
inv.add(gdstk.Reference(pmos_1_3_2, (0.55,2.045)))
inv.add(gdstk.Reference(nmos_1_3_2, (0.55,0.595)))
inv.add(gdstk.Label('VSS', (0.64,0.09), layer=8, texttype=25))
inv.add(gdstk.Label('VDD', (0.675,2.805), layer=8, texttype=25))
inv.add(gdstk.Label('VIN', (0.73,1.475), layer=8, texttype=25))
inv.add(gdstk.Label('VOUT', (1.2,1.665), layer=8, texttype=25))
inv.add(gdstk.Label('VSS', (0.64,0.09), layer=8, texttype=25))
inv.add(gdstk.Label('VDD', (0.675,2.805), layer=8, texttype=25))
inv.add(gdstk.Label('VIN', (0.73,1.475), layer=8, texttype=25))
inv.add(gdstk.Label('VOUT', (1.2,1.665), layer=8, texttype=25))
inv.add(gdstk.Label('VSS', (0.64,0.09), layer=8, texttype=25))
inv.add(gdstk.Label('VDD', (0.675,2.805), layer=8, texttype=25))
inv.add(gdstk.Label('VIN', (0.73,1.475), layer=8, texttype=25))
inv.add(gdstk.Label('VOUT', (1.2,1.665), layer=8, texttype=25))
inv.add(gdstk.Label('VSS', (0.64,0.09), layer=8, texttype=25))
inv.add(gdstk.Label('VDD', (0.675,2.805), layer=8, texttype=25))
inv.add(gdstk.Label('VIN', (0.73,1.475), layer=8, texttype=25))
inv.add(gdstk.Label('VOUT', (1.2,1.665), layer=8, texttype=25))
inv.add(gdstk.Label('VSS', (0.64,0.09), layer=8, texttype=25))
inv.add(gdstk.Label('VDD', (0.675,2.805), layer=8, texttype=25))
inv.add(gdstk.Label('VIN', (0.73,1.475), layer=8, texttype=25))
inv.add(gdstk.Label('VOUT', (1.2,1.665), layer=8, texttype=25))
inv.add(gdstk.Label('VSS', (0.64,0.09), layer=8, texttype=25))
inv.add(gdstk.Label('VDD', (0.675,2.805), layer=8, texttype=25))
inv.add(gdstk.Label('VIN', (0.73,1.475), layer=8, texttype=25))
inv.add(gdstk.Label('VOUT', (1.2,1.665), layer=8, texttype=25))
inv.add(gdstk.Label('VSS', (0.64,0.09), layer=8, texttype=25))
inv.add(gdstk.Label('VDD', (0.675,2.805), layer=8, texttype=25))
inv.add(gdstk.Label('VIN', (0.73,1.475), layer=8, texttype=25))
inv.add(gdstk.Label('VOUT', (1.2,1.665), layer=8, texttype=25))
inv.add(gdstk.Label('VSS', (0.64,0.09), layer=8, texttype=25))
inv.add(gdstk.Label('VDD', (0.675,2.805), layer=8, texttype=25))
inv.add(gdstk.Label('VIN', (0.73,1.475), layer=8, texttype=25))
inv.add(gdstk.Label('VOUT', (1.2,1.665), layer=8, texttype=25))
inv.add(gdstk.Label('VSS', (0.64,0.09), layer=8, texttype=25))
inv.add(gdstk.Label('VDD', (0.675,2.805), layer=8, texttype=25))
inv.add(gdstk.Label('VIN', (0.73,1.475), layer=8, texttype=25))
inv.add(gdstk.Label('VOUT', (1.2,1.665), layer=8, texttype=25))
inv.add(gdstk.Label('VSS', (0.64,0.09), layer=8, texttype=25))
inv.add(gdstk.Label('VDD', (0.675,2.805), layer=8, texttype=25))
inv.add(gdstk.Label('VIN', (0.73,1.475), layer=8, texttype=25))
inv.add(gdstk.Label('VOUT', (1.2,1.665), layer=8, texttype=25))
inv.add(gdstk.Label('VSS', (0.64,0.09), layer=8, texttype=25))
inv.add(gdstk.Label('VDD', (0.675,2.805), layer=8, texttype=25))
inv.add(gdstk.Label('VIN', (0.73,1.475), layer=8, texttype=25))
inv.add(gdstk.Label('VOUT', (1.2,1.665), layer=8, texttype=25))
inv.add(gdstk.Label('VSS', (0.64,0.09), layer=8, texttype=25))
inv.add(gdstk.Label('VDD', (0.675,2.805), layer=8, texttype=25))
inv.add(gdstk.Label('VIN', (0.73,1.475), layer=8, texttype=25))
inv.add(gdstk.Label('VOUT', (1.2,1.665), layer=8, texttype=25))
inv.add(gdstk.Label('VSS', (0.64,0.09), layer=8, texttype=25))
inv.add(gdstk.Label('VDD', (0.675,2.805), layer=8, texttype=25))
inv.add(gdstk.Label('VIN', (0.73,1.475), layer=8, texttype=25))
inv.add(gdstk.Label('VOUT', (1.2,1.665), layer=8, texttype=25))

inv_d2 = lib.new_cell('inv_d2')
R(inv_d2, Metal1, [(0.625,1.705,0.915,1.915), (0.625,1.705,0.915,1.915), (0.625,1.705,0.915,1.915), (1.625,1.705,1.915,1.915), (1.625,1.705,1.915,1.915), (1.625,1.705,1.915,1.915)])
R(inv_d2, Metal1_pin, [(1.19,0.95,1.35,2.66), (1.19,0.95,1.35,2.66), (1.19,0.95,1.35,2.66), (0.24,2.99,2.3,3.53), (0.24,2.99,2.3,3.53), (0.24,2.99,2.3,3.53)])
R(inv_d2, Metal2, [(0.625,1.71,0.915,1.91), (0.625,1.71,0.915,1.91), (0.625,1.71,0.915,1.91), (0.625,1.71,1.915,1.91), (0.625,1.71,1.915,1.91), (0.625,1.71,1.915,1.91), (1.625,1.71,1.915,1.91), (1.625,1.71,1.915,1.91), (1.625,1.71,1.915,1.91)])
R(inv_d2, Via1, [(0.675,1.715,0.865,1.905), (0.675,1.715,0.865,1.905), (0.675,1.715,0.865,1.905), (1.675,1.715,1.865,1.905), (1.675,1.715,1.865,1.905), (1.675,1.715,1.865,1.905)])
inv_d2.add(gdstk.Reference(inv, (0,0.335)))
inv_d2.add(gdstk.Reference(inv, (2.54,0.335), rotation=pi, x_reflection=True))
inv_d2.add(gdstk.Label('VDD', (1.27,3.14), layer=8, texttype=25))
inv_d2.add(gdstk.Label('VOUT', (1.26,1.49), layer=8, texttype=25))
inv_d2.add(gdstk.Label('VIN', (0.74,1.8), layer=8, texttype=25))
inv_d2.add(gdstk.Label('VSS', (1.27,0.445), layer=8, texttype=25))
inv_d2.add(gdstk.Label('VDD', (1.27,3.14), layer=8, texttype=25))
inv_d2.add(gdstk.Label('VOUT', (1.26,1.49), layer=8, texttype=25))
inv_d2.add(gdstk.Label('VIN', (0.74,1.8), layer=8, texttype=25))
inv_d2.add(gdstk.Label('VSS', (1.27,0.445), layer=8, texttype=25))
inv_d2.add(gdstk.Label('VDD', (1.27,3.14), layer=8, texttype=25))
inv_d2.add(gdstk.Label('VOUT', (1.26,1.49), layer=8, texttype=25))
inv_d2.add(gdstk.Label('VIN', (0.74,1.8), layer=8, texttype=25))
inv_d2.add(gdstk.Label('VSS', (1.27,0.445), layer=8, texttype=25))

inv_d4 = lib.new_cell('inv_d4')
R(inv_d4, Activ, [(7.06,0.295,7.28,0.595), (7.06,0.295,7.28,0.595), (7.06,2.99,7.28,3.29), (7.06,2.99,7.28,3.29)])
R(inv_d4, Metal1, [(6.125,2.425,6.415,2.635), (6.125,2.425,6.415,2.635), (7.925,2.425,8.215,2.635), (7.925,2.425,8.215,2.635)])
R(inv_d4, Metal1_pin, [(5.24,0.265,9.1,0.625), (5.24,0.265,9.1,0.625), (6.19,0.95,6.35,2.66), (6.19,0.95,6.35,2.66), (7.99,0.95,8.15,2.66), (7.99,0.95,8.15,2.66), (5.24,2.99,9.1,3.53), (5.24,2.99,9.1,3.53)])
R(inv_d4, Metal2, [(6.67,1.71,7.67,1.91), (6.67,1.71,7.67,1.91), (6.125,2.43,6.415,2.63), (6.125,2.43,6.415,2.63), (7.925,2.43,8.215,2.63), (7.925,2.43,8.215,2.63), (6.17,2.435,6.37,3.04), (6.17,2.435,6.37,3.04), (7.97,2.435,8.17,3.04), (7.97,2.435,8.17,3.04), (6.17,2.84,8.17,3.04), (6.17,2.84,8.17,3.04)])
R(inv_d4, Via1, [(6.175,2.435,6.365,2.625), (6.175,2.435,6.365,2.625), (7.975,2.435,8.165,2.625), (7.975,2.435,8.165,2.625)])
inv_d4.add(gdstk.Reference(inv_d2, (5,0)))
inv_d4.add(gdstk.Reference(inv_d2, (6.8,0)))
inv_d4.add(gdstk.Label('VOUT', (6.245,1.985), layer=8, texttype=25))
inv_d4.add(gdstk.Label('VDD', (6.235,3.12), layer=8, texttype=25))
inv_d4.add(gdstk.Label('VSS', (6.215,0.425), layer=8, texttype=25))
inv_d4.add(gdstk.Label('VIN', (5.735,1.765), layer=8, texttype=25))
inv_d4.add(gdstk.Label('VOUT', (6.245,1.985), layer=8, texttype=25))
inv_d4.add(gdstk.Label('VDD', (6.235,3.12), layer=8, texttype=25))
inv_d4.add(gdstk.Label('VSS', (6.215,0.425), layer=8, texttype=25))
inv_d4.add(gdstk.Label('VIN', (5.735,1.765), layer=8, texttype=25))

inv_d8 = lib.new_cell('inv_d8')
R(inv_d8, Metal1_pin, [(5.24,0.265,12.7,0.625), (5.24,2.99,12.7,3.53)])
R(inv_d8, Metal2, [(8.475,1.71,9.515,1.91), (7.97,2.84,9.97,3.04)])
inv_d8.add(gdstk.Reference(inv_d4, (0,0)))
inv_d8.add(gdstk.Reference(inv_d4, (3.6,0)))
inv_d8.add(gdstk.Label('VDD', (8.355,3.26), layer=8, texttype=25))
inv_d8.add(gdstk.Label('VSS', (8.97,0.445), layer=8, texttype=25))
inv_d8.add(gdstk.Label('VIN', (5.77,1.81), layer=8, texttype=25))
inv_d8.add(gdstk.Label('VOUT', (11.67,1.805), layer=8, texttype=25))
inv_d8.add(gdstk.Label('VOUT', (8.9,2.905), layer=10, texttype=25))

buff_d8 = lib.new_cell('buff_d8')
R(buff_d8, Activ, [(6.49,0.295,6.97,0.595), (8.55,0.295,9.03,0.595), (12.41,0.295,12.89,0.595), (16.27,0.295,16.49,0.595), (6.49,2.99,6.97,3.29), (8.55,2.99,9.03,3.29), (12.41,2.99,12.895,3.29), (16.27,2.99,16.495,3.29)])
R(buff_d8, Metal1, [(6.125,1.705,6.415,1.915), (7.115,1.705,7.405,1.915), (9.175,1.705,9.465,1.915), (13.035,1.705,13.325,1.915), (7.615,2.425,7.905,2.635)])
R(buff_d8, Metal1_pin, [(5.24,0.265,20.11,0.625), (19,0.95,19.16,2.66), (5.62,1.66,5.92,1.96), (5.24,2.99,20.11,3.53)])
R(buff_d8, Metal2, [(6.125,1.71,6.415,1.91), (6.125,1.71,7.4,1.91), (7.115,1.71,7.405,1.91), (9.175,1.71,9.465,1.91), (9.22,1.71,9.42,2.63), (13.035,1.71,13.325,1.91), (13.095,1.715,13.295,3.04), (7.615,2.43,7.905,2.63), (7.615,2.43,9.42,2.63), (11.52,2.84,13.295,3.04)])
R(buff_d8, pSD, [(6.6,2.155,6.86,2.905), (8.66,2.155,8.92,2.905), (12.52,2.155,12.78,2.905)])
R(buff_d8, Via1, [(6.175,1.715,6.365,1.905), (7.165,1.715,7.355,1.905), (9.225,1.715,9.415,1.905), (13.085,1.715,13.275,1.905), (7.665,2.435,7.855,2.625)])
buff_d8.add(gdstk.Reference(inv, (5,0.335)))
buff_d8.add(gdstk.Reference(inv_d2, (6.49,0)))
buff_d8.add(gdstk.Reference(inv_d4, (3.55,0)))
buff_d8.add(gdstk.Reference(inv_d8, (7.41,0)))
buff_d8.add(gdstk.Label('VDD', (5.68,3.115), layer=8, texttype=25))
buff_d8.add(gdstk.Label('VSS', (5.665,0.415), layer=8, texttype=25))
buff_d8.add(gdstk.Label('VIN', (5.73,1.795), layer=8, texttype=25))
buff_d8.add(gdstk.Label('VOUT', (19.03,1.98), layer=8, texttype=25))

lib.write_gds('buff_d8.gds')
